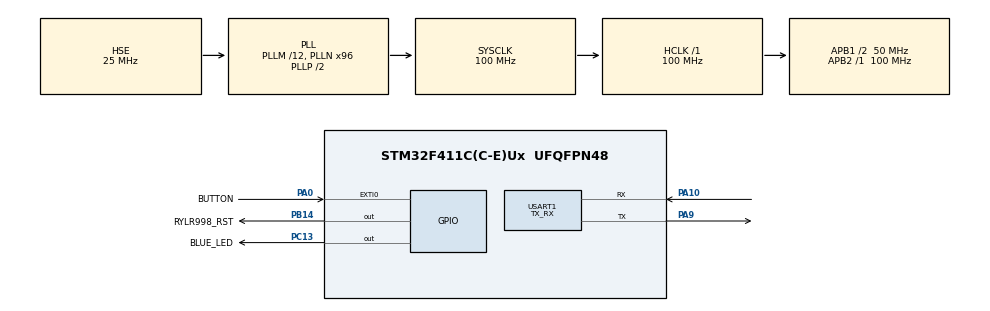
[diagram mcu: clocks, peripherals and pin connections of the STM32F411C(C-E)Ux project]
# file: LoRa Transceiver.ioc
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Dma.Request0=USART1_RX
Dma.Request1=USART1_TX
Dma.USART1_RX.0.Direction=DMA_PERIPH_TO_MEMORY
Dma.USART1_RX.0.FIFOMode=DMA_FIFOMODE_DISABLE
Dma.USART1_RX.0.Instance=DMA2_Stream2
Dma.USART1_RX.0.MemDataAlignment=DMA_MDATAALIGN_BYTE
Dma.USART1_RX.0.MemInc=DMA_MINC_ENABLE
Dma.USART1_RX.0.Mode=DMA_NORMAL
Dma.USART1_RX.0.PeriphDataAlignment=DMA_PDATAALIGN_BYTE
Dma.USART1_RX.0.PeriphInc=DMA_PINC_DISABLE
Dma.USART1_RX.0.Priority=DMA_PRIORITY_LOW
Dma.USART1_TX.1.Direction=DMA_MEMORY_TO_PERIPH
Dma.USART1_TX.1.FIFOMode=DMA_FIFOMODE_DISABLE
Dma.USART1_TX.1.Instance=DMA2_Stream7
Dma.USART1_TX.1.MemDataAlignment=DMA_MDATAALIGN_BYTE
Dma.USART1_TX.1.MemInc=DMA_MINC_ENABLE
Dma.USART1_TX.1.Mode=DMA_NORMAL
Dma.USART1_TX.1.PeriphDataAlignment=DMA_PDATAALIGN_BYTE
Dma.USART1_TX.1.PeriphInc=DMA_PINC_DISABLE
Dma.USART1_TX.1.Priority=DMA_PRIORITY_LOW
Mcu.Family=STM32F4
Mcu.Name=STM32F411C(C-E)Ux
Mcu.Package=UFQFPN48
NVIC.DMA2_Stream2_IRQn=true\:0\:0\:false\:false\:true\:false\:true
NVIC.DMA2_Stream7_IRQn=true\:0\:0\:false\:false\:true\:false\:true
NVIC.EXTI0_IRQn=true\:0\:0\:false\:false\:true\:true\:true
NVIC.PriorityGroup=NVIC_PRIORITYGROUP_4
NVIC.USART1_IRQn=true\:0\:0\:false\:false\:true\:true\:true
PA0-WKUP.GPIO_Label=BUTTON
PA0-WKUP.GPIO_ModeDefaultEXTI=GPIO_MODE_IT_FALLING
PA0-WKUP.GPIO_PuPd=GPIO_PULLUP
PA0-WKUP.Signal=GPXTI0
PA10.Mode=Asynchronous
PA10.Signal=USART1_RX
PA13.Mode=Serial_Wire
PA13.Signal=SYS_JTMS-SWDIO
PA14.Mode=Serial_Wire
PA14.Signal=SYS_JTCK-SWCLK
PA9.Mode=Asynchronous
PA9.Signal=USART1_TX
PB14.GPIO_Label=RYLR998_RST
PB14.Signal=GPIO_Output
PC13-ANTI_TAMP.GPIO_Label=BLUE_LED
PC13-ANTI_TAMP.Signal=GPIO_Output
PH0\ -\ OSC_IN.Mode=HSE-External-Oscillator
PH0\ -\ OSC_IN.Signal=RCC_OSC_IN
PH1\ -\ OSC_OUT.Mode=HSE-External-Oscillator
PH1\ -\ OSC_OUT.Signal=RCC_OSC_OUT
ProjectManager.HeapSize=0x200
ProjectManager.StackSize=0x400
ProjectManager.TargetToolchain=STM32CubeIDE
RCC.48MHZClocksFreq_Value=50000000
RCC.AHBFreq_Value=100000000
RCC.APB1CLKDivider=RCC_HCLK_DIV2
RCC.APB1Freq_Value=50000000
RCC.APB1TimFreq_Value=100000000
RCC.APB2Freq_Value=100000000
RCC.APB2TimFreq_Value=100000000
RCC.CortexFreq_Value=100000000
RCC.HCLKFreq_Value=100000000
RCC.HSE_VALUE=25000000
RCC.HSI_VALUE=16000000
RCC.LSE_VALUE=32768
RCC.PLLM=12
RCC.PLLN=96
RCC.PLLSourceVirtual=RCC_PLLSOURCE_HSE
RCC.SYSCLKFreq_VALUE=100000000
RCC.SYSCLKSource=RCC_SYSCLKSOURCE_PLLCLK
RCC.VCOOutputFreq_Value=200000000
USART1.Mode=MODE_TX_RX
USART1.VirtualMode=VM_ASYNC
board=custom

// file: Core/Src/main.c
/* USER CODE BEGIN Header */
/**
  ******************************************************************************
  * @file           : main.c
  * @brief          : Main program body
  ******************************************************************************
  * @attention
  *
  * <h2><center>&copy; Copyright (c) 2022 STMicroelectronics.
  * All rights reserved.</center></h2>
  *
  * This software component is licensed by ST under BSD 3-Clause license,
  * the "License"; You may not use this file except in compliance with the
  * License. You may obtain a copy of the License at:
  *                        opensource.org/licenses/BSD-3-Clause
  *
  ******************************************************************************
  */
/* USER CODE END Header */
#include "main.h"

UART_HandleTypeDef huart1;
DMA_HandleTypeDef hdma_usart1_rx;
DMA_HandleTypeDef hdma_usart1_tx;

void SystemClock_Config(void);
static void MX_GPIO_Init(void);
static void MX_DMA_Init(void);
static void MX_USART1_UART_Init(void);

int main(void)
{

  /* MCU Configuration--------------------------------------------------------*/

  /* Reset of all peripherals, Initializes the Flash interface and the Systick. */
  HAL_Init();

  /* Configure the system clock */
  SystemClock_Config();

  /* Initialize all configured peripherals */
  MX_GPIO_Init();
  MX_DMA_Init();
  MX_USART1_UART_Init();
  /* USER CODE BEGIN 2 */
  rylr998_enable();
  HAL_Delay(100);
  rylr998Get(&hLoRaModule, Rylr998_ADDRESS);
//  rylr998GetAddress(&hLoRaModule);
  hLoRaModule.rylr998NetworkId = 6;
  hLoRaModule.Rylr998RfPower   = 22;
  hLoRaModule.rylr998Transmitter.address[0] = '1';
  hLoRaModule.rylr998Transmitter.timer = HAL_GetTick();
  HAL_UARTEx_ReceiveToIdle_DMA(&huart1, hLoRaModule.rylr998Receiver.rxBuffer, 100);
//  HAL_Delay(20);
//  rylr998SetNetworkId			(hLoRaModule.rylr998NetworkId);
  HAL_Delay(30);
//  rylr998SetOutputPower			(hLoRaModule.Rylr998RfPower);
  HAL_Delay(20);
//  HAL_UART_Transmit(&huart1, "AT+CRC=0\r\n", 10, 10);
  HAL_Delay(20);
//    rylr998SetAddress(address);
  /* USER CODE END 2 */

  /* Infinite loop */
  /* USER CODE BEGIN WHILE */
  while (1)
  {

	  if(RYLR998_ReadInterruptFlag())
	  {
		  RYLR998_WriteInterruptFlag(DISABLE);

		  rylr998ReceivePacketParser(&hLoRaModule);
	  }
	 if(RYLR998_ReadSuccessfulTxFlag())
	 {
		 RYLR998_WriteSuccessfulTxFlag(DISABLE);
		 hLoRaModule.rylr998Timer = HAL_GetTick();
		 LED_ON;
	 }
	  if(!HAL_GPIO_ReadPin(BUTTON_GPIO_Port, BUTTON_Pin))
	  {
		  if(HAL_GetTick() - hLoRaModule.rylr998Transmitter.timer >= 1000)
		  {
			  hLoRaModule.rylr998Transmitter.timer = HAL_GetTick();

			  rylr998Send(&hLoRaModule, ULORA_CONN_COUNT);
		  }
	  }

	  if(HAL_GetTick() - hLoRaModule.rylr998Timer > 300)
	  {
		  LED_OFF;
	  }

    /* USER CODE END WHILE */

  }
}

void SystemClock_Config(void)
{
  RCC_OscInitTypeDef RCC_OscInitStruct = {0};
  RCC_ClkInitTypeDef RCC_ClkInitStruct = {0};

  /** Configure the main internal regulator output voltage
  */
  __HAL_RCC_PWR_CLK_ENABLE();
  __HAL_PWR_VOLTAGESCALING_CONFIG(PWR_REGULATOR_VOLTAGE_SCALE1);
  /** Initializes the RCC Oscillators according to the specified parameters
  * in the RCC_OscInitTypeDef structure.
  */
  RCC_OscInitStruct.OscillatorType = RCC_OSCILLATORTYPE_HSE;
  RCC_OscInitStruct.HSEState = RCC_HSE_ON;
  RCC_OscInitStruct.PLL.PLLState = RCC_PLL_ON;
  RCC_OscInitStruct.PLL.PLLSource = RCC_PLLSOURCE_HSE;
  RCC_OscInitStruct.PLL.PLLM = 12;
  RCC_OscInitStruct.PLL.PLLN = 96;
  RCC_OscInitStruct.PLL.PLLP = RCC_PLLP_DIV2;
  RCC_OscInitStruct.PLL.PLLQ = 4;
  if (HAL_RCC_OscConfig(&RCC_OscInitStruct) != HAL_OK)
  {
    Error_Handler();
  }
  /** Initializes the CPU, AHB and APB buses clocks
  */
  RCC_ClkInitStruct.ClockType = RCC_CLOCKTYPE_HCLK|RCC_CLOCKTYPE_SYSCLK
                              |RCC_CLOCKTYPE_PCLK1|RCC_CLOCKTYPE_PCLK2;
  RCC_ClkInitStruct.SYSCLKSource = RCC_SYSCLKSOURCE_PLLCLK;
  RCC_ClkInitStruct.AHBCLKDivider = RCC_SYSCLK_DIV1;
  RCC_ClkInitStruct.APB1CLKDivider = RCC_HCLK_DIV2;
  RCC_ClkInitStruct.APB2CLKDivider = RCC_HCLK_DIV1;

  if (HAL_RCC_ClockConfig(&RCC_ClkInitStruct, FLASH_LATENCY_3) != HAL_OK)
  {
    Error_Handler();
  }
}

static void MX_USART1_UART_Init(void)
{

  /* USER CODE BEGIN USART1_Init 0 */
//	hUart.Instance = USART1;
//	hUart.Init.BaudRate = 115200;
//	hUart.Init.WordLength = UART_WORDLENGTH_8B;
//	hUart.Init.StopBits = UART_STOPBITS_1;
//	hUart.Init.Parity = UART_PARITY_NONE;
//	hUart.Init.Mode = UART_MODE_TX_RX;
//	hUart.Init.HwFlowCtl = UART_HWCONTROL_NONE;
//	hUart.Init.OverSampling = UART_OVERSAMPLING_16;
//	if (HAL_UART_Init(&hUart) != HAL_OK)
//	{
//		Error_Handler();
//	}
  /* USER CODE END USART1_Init 0 */

  huart1.Instance = USART1;
  huart1.Init.BaudRate = 115200;
  huart1.Init.WordLength = UART_WORDLENGTH_8B;
  huart1.Init.StopBits = UART_STOPBITS_1;
  huart1.Init.Parity = UART_PARITY_NONE;
  huart1.Init.Mode = UART_MODE_TX_RX;
  huart1.Init.HwFlowCtl = UART_HWCONTROL_NONE;
  huart1.Init.OverSampling = UART_OVERSAMPLING_16;
  if (HAL_UART_Init(&huart1) != HAL_OK)
  {
    Error_Handler();
  }

}

static void MX_DMA_Init(void)
{

  /* DMA controller clock enable */
  __HAL_RCC_DMA2_CLK_ENABLE();

  /* DMA interrupt init */
  /* DMA2_Stream2_IRQn interrupt configuration */
  HAL_NVIC_SetPriority(DMA2_Stream2_IRQn, 0, 0);
  HAL_NVIC_EnableIRQ(DMA2_Stream2_IRQn);
  /* DMA2_Stream7_IRQn interrupt configuration */
  HAL_NVIC_SetPriority(DMA2_Stream7_IRQn, 0, 0);
  HAL_NVIC_EnableIRQ(DMA2_Stream7_IRQn);

}

static void MX_GPIO_Init(void)
{
  GPIO_InitTypeDef GPIO_InitStruct = {0};

  /* GPIO Ports Clock Enable */
  __HAL_RCC_GPIOC_CLK_ENABLE();
  __HAL_RCC_GPIOH_CLK_ENABLE();
  __HAL_RCC_GPIOA_CLK_ENABLE();
  __HAL_RCC_GPIOB_CLK_ENABLE();

  /*Configure GPIO pin Output Level */
  HAL_GPIO_WritePin(BLUE_LED_GPIO_Port, BLUE_LED_Pin, GPIO_PIN_RESET);

  /*Configure GPIO pin Output Level */
  HAL_GPIO_WritePin(RYLR998_RST_GPIO_Port, RYLR998_RST_Pin, GPIO_PIN_RESET);

  /*Configure GPIO pin : BLUE_LED_Pin */
  GPIO_InitStruct.Pin = BLUE_LED_Pin;
  GPIO_InitStruct.Mode = GPIO_MODE_OUTPUT_PP;
  GPIO_InitStruct.Pull = GPIO_NOPULL;
  GPIO_InitStruct.Speed = GPIO_SPEED_FREQ_LOW;
  HAL_GPIO_Init(BLUE_LED_GPIO_Port, &GPIO_InitStruct);

  /*Configure GPIO pin : BUTTON_Pin */
  GPIO_InitStruct.Pin = BUTTON_Pin;
  GPIO_InitStruct.Mode = GPIO_MODE_IT_FALLING;
  GPIO_InitStruct.Pull = GPIO_PULLUP;
  HAL_GPIO_Init(BUTTON_GPIO_Port, &GPIO_InitStruct);

  /*Configure GPIO pin : RYLR998_RST_Pin */
  GPIO_InitStruct.Pin = RYLR998_RST_Pin;
  GPIO_InitStruct.Mode = GPIO_MODE_OUTPUT_PP;
  GPIO_InitStruct.Pull = GPIO_NOPULL;
  GPIO_InitStruct.Speed = GPIO_SPEED_FREQ_LOW;
  HAL_GPIO_Init(RYLR998_RST_GPIO_Port, &GPIO_InitStruct);

  /* EXTI interrupt init*/
  HAL_NVIC_SetPriority(EXTI0_IRQn, 0, 0);
  HAL_NVIC_EnableIRQ(EXTI0_IRQn);

}

/* USER CODE BEGIN 4 */
 void HAL_UART_RxCpltCallback(UART_HandleTypeDef *huart)
{
  /* Prevent unused argument(s) compilation warning */
	 RYLR998_WriteInterruptFlag(ENABLE);
  UNUSED(huart);
  /* NOTE: This function should not be modified, when the callback is needed,
           the HAL_UART_RxCpltCallback could be implemented in the user file
   */
}

 void HAL_UARTEx_RxEventCallback(UART_HandleTypeDef *huart, uint16_t Size)
 {
 	RYLR998_WriteInterruptFlag(ENABLE);
 	HAL_UARTEx_ReceiveToIdle_DMA(&huart1, hLoRaModule.rylr998Receiver.rxBuffer, 100);
 	 __HAL_DMA_DISABLE_IT(&hdma_usart1_rx, DMA_IT_HT);
 }
/* USER CODE END 4 */

void Error_Handler(void)
{
}

/************************ (C) COPYRIGHT STMicroelectronics *****END OF FILE****/
